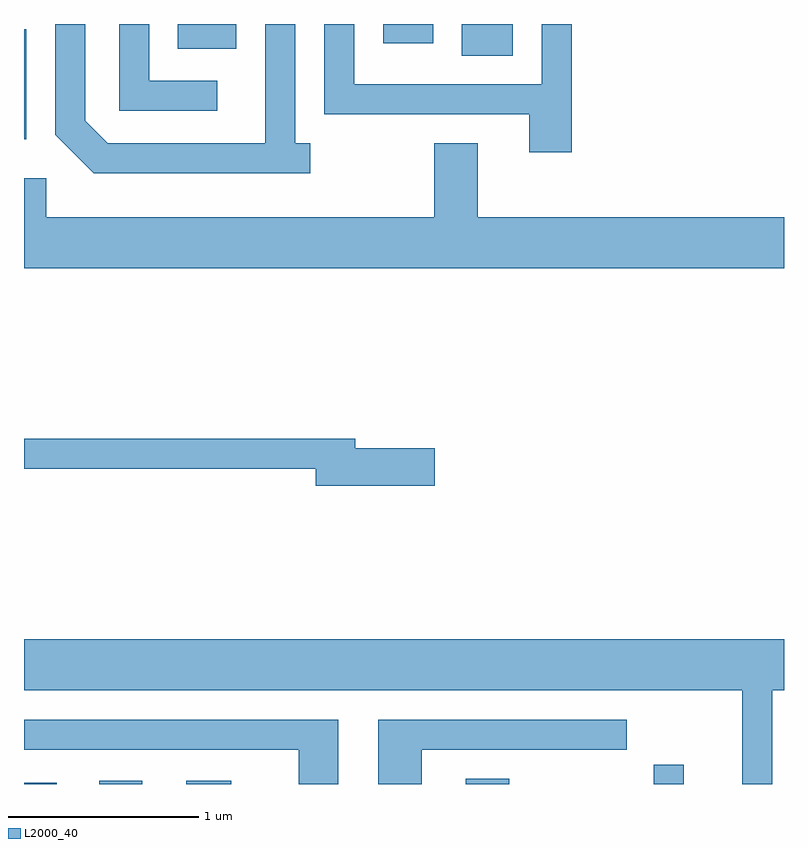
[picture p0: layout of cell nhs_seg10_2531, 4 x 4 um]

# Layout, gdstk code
import gdstk
lib = gdstk.Library(unit=1e-6, precision=1e-09)
def R(c, l, rs):  # rectangles x0, y0, x1, y1
    for r in rs: c.add(gdstk.rectangle(r[:2], r[2:], *l))
def P(c, l, *ps):  # polygons
    for p in ps: c.add(gdstk.Polygon(p, *l))
L2000_40 = (2000, 40)

nhs_seg10_2531 = lib.new_cell('nhs_seg10_2531')
R(nhs_seg10_2531, L2000_40, [(259.611,2124.522,259.783,2124.529), (260.006,2124.522,260.234,2124.539), (260.466,2124.522,260.703,2124.539), (261.936,2124.522,262.164,2124.549), (262.926,2124.522,263.084,2124.623), (259.611,2127.916,259.624,2128.494), (261.916,2128.356,262.184,2128.522), (260.421,2128.391,260.729,2128.522), (261.501,2128.421,261.764,2128.522)])
P(nhs_seg10_2531, L2000_40, [(260.628,2128.224),(260.269,2128.224),(260.269,2128.522),(260.111,2128.522),(260.111,2128.066),(260.628,2128.066)],
  [(262.494,2128.522),(262.336,2128.522),(262.336,2128.204),(261.349,2128.204),(261.349,2128.522),(261.191,2128.522),(261.191,2128.046),(262.271,2128.046),(262.271,2127.846),(262.494,2127.846)],
  [(261.118,2127.894),(261.039,2127.894),(261.039,2128.522),(260.881,2128.522),(260.881,2127.894),(260.052,2127.894),(259.934,2128.012),(259.934,2128.522),(259.776,2128.522),(259.776,2127.939),(259.979,2127.736),(261.118,2127.736)],
  [(263.611,2127.504),(261.999,2127.504),(261.999,2127.894),(261.771,2127.894),(261.771,2127.504),(259.729,2127.504),(259.729,2127.709),(259.611,2127.709),(259.611,2127.236),(263.611,2127.236)],
  [(261.774,2126.289),(261.354,2126.289),(261.354,2126.339),(259.611,2126.339),(259.611,2126.181),(261.146,2126.181),(261.146,2126.091),(261.774,2126.091)],
  [(263.549,2125.016),(263.611,2125.016),(263.611,2125.284),(259.611,2125.284),(259.611,2125.016),(263.391,2125.016),(263.391,2124.522),(263.549,2124.522)],
  [(261.264,2124.859),(259.611,2124.859),(259.611,2124.701),(261.056,2124.701),(261.056,2124.522),(261.264,2124.522)],
  [(261.704,2124.701),(262.783,2124.701),(262.783,2124.859),(261.476,2124.859),(261.476,2124.522),(261.704,2124.522)])

lib.write_gds('nhs_seg10_2531.gds')
